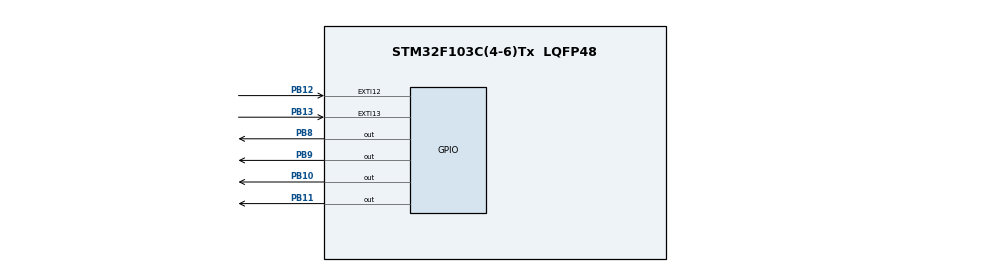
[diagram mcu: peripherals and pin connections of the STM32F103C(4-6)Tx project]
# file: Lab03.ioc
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Mcu.Family=STM32F1
Mcu.Name=STM32F103C(4-6)Tx
Mcu.Package=LQFP48
NVIC.EXTI15_10_IRQn=true\:0\:0\:false\:true\:true\:1\:true\:true
NVIC.PriorityGroup=NVIC_PRIORITYGROUP_4
PB10.Signal=GPIO_Output
PB11.Signal=GPIO_Output
PB12.Signal=GPXTI12
PB13.Signal=GPXTI13
PB8.Signal=GPIO_Output
PB9.Signal=GPIO_Output
ProjectManager.HeapSize=0x200
ProjectManager.StackSize=0x400
ProjectManager.TargetToolchain=STM32CubeIDE
RCC.APB1Freq_Value=8000000
RCC.APB2Freq_Value=8000000
VP_SYS_VS_ND.Mode=No_Debug
board=custom

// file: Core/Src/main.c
/* USER CODE BEGIN Header */
/**
  ******************************************************************************
  * @file           : main.c
  * @brief          : Main program body
  ******************************************************************************
  * @attention
  *
  * <h2><center>&copy; Copyright (c) 2021 STMicroelectronics.
  * All rights reserved.</center></h2>
  *
  * This software component is licensed by ST under BSD 3-Clause license,
  * the "License"; You may not use this file except in compliance with the
  * License. You may obtain a copy of the License at:
  *                        opensource.org/licenses/BSD-3-Clause
  *
  ******************************************************************************
  */
/* USER CODE END Header */
#include "main.h"
#include "gpio.h"

/* USER CODE BEGIN PV */
int i = 0;
/* USER CODE END PV */

void SystemClock_Config(void);
static void MX_NVIC_Init(void);

int main(void)
{

  /* MCU Configuration--------------------------------------------------------*/

  /* Reset of all peripherals, Initializes the Flash interface and the Systick. */
  HAL_Init();

  /* Configure the system clock */
  SystemClock_Config();

  /* Initialize all configured peripherals */
  MX_GPIO_Init();

  /* Initialize interrupts */
  MX_NVIC_Init();

  /* Infinite loop */
  while (1)
  {

  }
}

void SystemClock_Config(void)
{
  RCC_OscInitTypeDef RCC_OscInitStruct = {0};
  RCC_ClkInitTypeDef RCC_ClkInitStruct = {0};

  /** Initializes the RCC Oscillators according to the specified parameters
  * in the RCC_OscInitTypeDef structure.
  */
  RCC_OscInitStruct.OscillatorType = RCC_OSCILLATORTYPE_HSI;
  RCC_OscInitStruct.HSIState = RCC_HSI_ON;
  RCC_OscInitStruct.HSICalibrationValue = RCC_HSICALIBRATION_DEFAULT;
  RCC_OscInitStruct.PLL.PLLState = RCC_PLL_NONE;
  if (HAL_RCC_OscConfig(&RCC_OscInitStruct) != HAL_OK)
  {
    Error_Handler();
  }
  /** Initializes the CPU, AHB and APB buses clocks
  */
  RCC_ClkInitStruct.ClockType = RCC_CLOCKTYPE_HCLK|RCC_CLOCKTYPE_SYSCLK
                              |RCC_CLOCKTYPE_PCLK1|RCC_CLOCKTYPE_PCLK2;
  RCC_ClkInitStruct.SYSCLKSource = RCC_SYSCLKSOURCE_HSI;
  RCC_ClkInitStruct.AHBCLKDivider = RCC_SYSCLK_DIV1;
  RCC_ClkInitStruct.APB1CLKDivider = RCC_HCLK_DIV1;
  RCC_ClkInitStruct.APB2CLKDivider = RCC_HCLK_DIV1;

  if (HAL_RCC_ClockConfig(&RCC_ClkInitStruct, FLASH_LATENCY_0) != HAL_OK)
  {
    Error_Handler();
  }
}

/**
  * @brief NVIC Configuration.
  * @retval None
  */
static void MX_NVIC_Init(void)
{
  /* EXTI15_10_IRQn interrupt configuration */
  HAL_NVIC_SetPriority(EXTI15_10_IRQn, 0, 0);
  HAL_NVIC_EnableIRQ(EXTI15_10_IRQn);
}

/* USER CODE BEGIN 4 */
void HAL_GPIO_EXTI_Callback(uint16_t GPIO_Pin)
{
	if (GPIO_Pin == GPIO_PIN_12)
	{
		if (++i > 8)
		{
			i = 8;
		}
	}

	if (GPIO_Pin == GPIO_PIN_13)
	{
		if(--i < 0)
		{
			i = 0;
		}
	}

	switch (i)
	{
		case 2:
			HAL_GPIO_WritePin (GPIOB, GPIO_PIN_8, GPIO_PIN_RESET);
			HAL_GPIO_WritePin (GPIOB, GPIO_PIN_9, GPIO_PIN_SET);
			HAL_GPIO_WritePin (GPIOB, GPIO_PIN_10, GPIO_PIN_SET);
			HAL_GPIO_WritePin (GPIOB, GPIO_PIN_11, GPIO_PIN_SET);
			break;

		case 4:
			HAL_GPIO_WritePin (GPIOB, GPIO_PIN_8, GPIO_PIN_RESET);
			HAL_GPIO_WritePin (GPIOB, GPIO_PIN_9, GPIO_PIN_RESET);
			HAL_GPIO_WritePin (GPIOB, GPIO_PIN_10, GPIO_PIN_SET);
			HAL_GPIO_WritePin (GPIOB, GPIO_PIN_11, GPIO_PIN_SET);
			break;

		case 6:
			HAL_GPIO_WritePin (GPIOB, GPIO_PIN_8, GPIO_PIN_RESET);
			HAL_GPIO_WritePin (GPIOB, GPIO_PIN_9, GPIO_PIN_RESET);
			HAL_GPIO_WritePin (GPIOB, GPIO_PIN_10, GPIO_PIN_RESET);
			HAL_GPIO_WritePin (GPIOB, GPIO_PIN_11, GPIO_PIN_SET);
			break;

		case 8:
			HAL_GPIO_WritePin (GPIOB, GPIO_PIN_8, GPIO_PIN_RESET);
			HAL_GPIO_WritePin (GPIOB, GPIO_PIN_9, GPIO_PIN_RESET);
			HAL_GPIO_WritePin (GPIOB, GPIO_PIN_10, GPIO_PIN_RESET);
			HAL_GPIO_WritePin (GPIOB, GPIO_PIN_11, GPIO_PIN_RESET);
			break;

		default:
			HAL_GPIO_WritePin (GPIOB, GPIO_PIN_8, GPIO_PIN_SET);
			HAL_GPIO_WritePin (GPIOB, GPIO_PIN_9, GPIO_PIN_SET);
			HAL_GPIO_WritePin (GPIOB, GPIO_PIN_10, GPIO_PIN_SET);
			HAL_GPIO_WritePin (GPIOB, GPIO_PIN_11, GPIO_PIN_SET);
			break;
	}
}
/* USER CODE END 4 */

void Error_Handler(void)
{
  __disable_irq();
  while (1)
  {
  }
}
